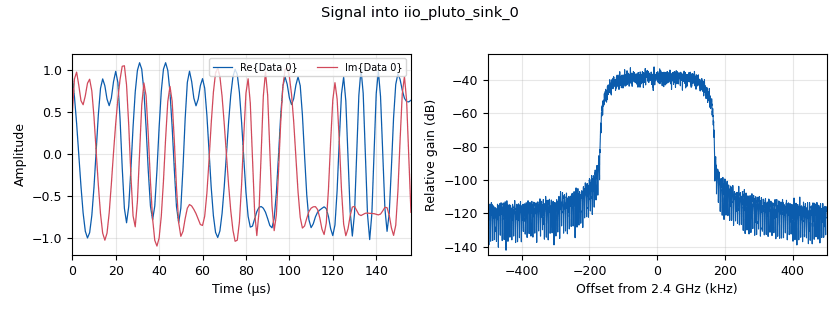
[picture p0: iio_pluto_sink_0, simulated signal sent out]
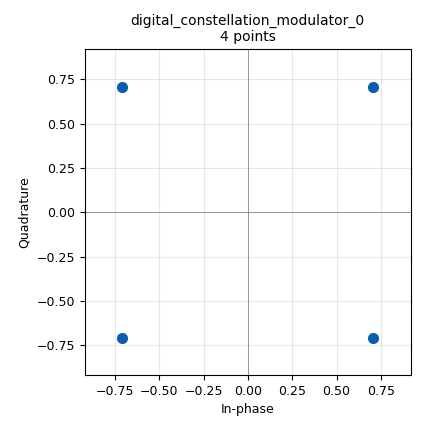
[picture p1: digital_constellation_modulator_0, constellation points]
options:
  parameters:
    category: Custom
    generate_options: qt_gui
    id: mpsk_stage6
    output_language: python
    title: mpsk_stage6.grc
  states: {}

blocks:
- name: arity
  id: variable
  parameters:
    value: '4'
  states: {}
- name: delay
  id: variable_qtgui_range
  parameters:
    gui_hint: 1,0,1,1
    label: Delay
    start: '0'
    step: '1'
    stop: '200'
    value: '50'
  states: {}
- name: eq_gain
  id: variable_qtgui_range
  parameters:
    gui_hint: 'controls@1: 0,1,1,1'
    label: 'Equalizer: rate'
    start: '0.0'
    step: '0.001'
    stop: '0.1'
    value: '0.01'
    widget: slider
  states: {}
- name: excess_bw
  id: variable
  parameters:
    value: '0.35'
  states: {}
- name: freq_offset
  id: variable_qtgui_range
  parameters:
    gui_hint: 'controls@0: 0,1,1,1'
    label: Frequency Offset
    start: '-0.1'
    step: '0.001'
    stop: '0.1'
    value: '0'
  states: {}
- name: nfilts
  id: variable
  parameters:
    value: '32'
  states: {}
- name: noise_volt
  id: variable_qtgui_range
  parameters:
    gui_hint: 'controls@0: 0,0,1,1'
    label: Noise Voltage
    start: '0'
    step: '0.01'
    stop: '1'
    value: '0.0001'
  states: {}
- name: phase_bw
  id: variable_qtgui_range
  parameters:
    gui_hint: 'controls@1: 0,2,1,1'
    label: 'Phase: Bandwidth'
    start: '0.0'
    step: '0.01'
    stop: '1.0'
    value: 6.28/100.0
    widget: slider
  states: {}
- name: qpsk
  id: variable_constellation_rect
  parameters:
    const_points: '[0.707+0.707j, -0.707+0.707j, -0.707-0.707j, 0.707-0.707j]'
    imag_sect: '2'
    real_sect: '2'
    rot_sym: '4'
    sym_map: '[0, 1, 2, 3]'
    w_imag_sect: '1'
    w_real_sect: '1'
  states: {}
- name: rrc_taps
  id: variable
  parameters:
    value: firdes.root_raised_cosine(nfilts, nfilts, 1.0/float(sps), 0.35, 11*sps*nfilts)
  states: {}
- name: samp_rate
  id: variable
  parameters:
    value: '1000000'
  states: {}
- name: sps
  id: variable
  parameters:
    value: '4'
  states: {}
- name: taps
  id: variable
  parameters:
    value: '[1.0, 0.25-0.25j, 0.50 + 0.10j, -0.3 + 0.2j]'
  states: {}
- name: time_offset
  id: variable_qtgui_range
  parameters:
    gui_hint: 'controls@0: 0,2,1,1'
    label: Timing Offset
    start: '0.999'
    step: '0.0001'
    stop: '1.001'
    value: '1.00'
  states: {}
- name: timing_loop_bw
  id: variable_qtgui_range
  parameters:
    gui_hint: 'controls@1: 0,0,1,1'
    label: 'Time: BW'
    start: '0.0'
    step: '0.01'
    stop: '0.2'
    value: 6.28/100.0
    widget: slider
  states: {}
- name: variable_adaptive_algorithm_0
  id: variable_adaptive_algorithm
  parameters:
    cons: qpsk
    modulus: '4'
    step_size: '.0001'
    type: cma
  states: {}
- name: analog_random_source_x_0
  id: analog_random_source_x
  parameters:
    max: '255'
    min: '0'
    num_samps: '10000'
    repeat: 'True'
    type: byte
  states: {}
- name: controls
  id: qtgui_tab_widget
  parameters:
    gui_hint: 0,0,1,2
    label0: Channel
    label1: Receiver
    num_tabs: '2'
  states: {}
- name: digital_constellation_modulator_0
  id: digital_constellation_modulator
  parameters:
    constellation: qpsk
    differential: 'True'
    excess_bw: excess_bw
    samples_per_symbol: sps
  states: {}
- name: iio_pluto_sink_0
  id: iio_pluto_sink
  parameters:
    attenuation1: '10.0'
    bandwidth: '20000000'
    buffer_size: '32768'
    cyclic: 'False'
    filter_source: '''Auto'''
    frequency: '2400000000'
    samplerate: samp_rate
    type: fc32
    uri: '"192.168.1.10"'
  states: {}
- name: note_0
  id: note
  parameters:
    comment: |-
      The CMA equalizer has been
      replaced by a Linear Equalizer
      and an Adaptive Algorithm for
      version 3.9
    note: CMA equalizer replaced
  states: {}
- name: received
  id: qtgui_tab_widget
  parameters:
    gui_hint: 2,0,1,1
    label0: Constellation
    label1: Symbols
    num_tabs: '2'
  states: {}

connections:
- [analog_random_source_x_0, '0', digital_constellation_modulator_0, '0']
- [digital_constellation_modulator_0, '0', iio_pluto_sink_0, '0']

metadata:
  file_format: 1
  grc_version: 3.10.12.0
